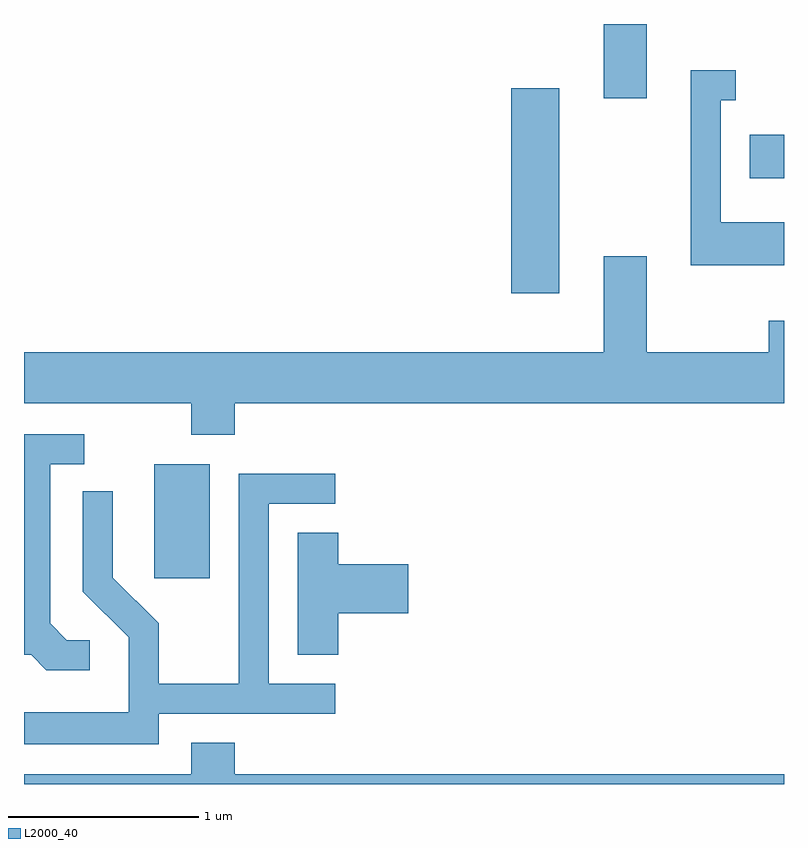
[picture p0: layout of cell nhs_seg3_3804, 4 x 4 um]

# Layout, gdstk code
import gdstk
lib = gdstk.Library(unit=1e-6, precision=1e-09)
def R(c, l, rs):  # rectangles x0, y0, x1, y1
    for r in rs: c.add(gdstk.rectangle(r[:2], r[2:], *l))
def P(c, l, *ps):  # polygons
    for p in ps: c.add(gdstk.Polygon(p, *l))
L2000_40 = (2000, 40)

nhs_seg3_3804 = lib.new_cell('nhs_seg3_3804')
R(nhs_seg3_3804, L2000_40, [(296.296,1244.976,296.589,1245.574), (298.176,1246.476,298.429,1247.554), (299.431,1247.081,299.611,1247.309), (298.661,1247.501,298.889,1247.892)])
P(nhs_seg3_3804, L2000_40, [(299.611,1246.849),(299.279,1246.849),(299.279,1247.491),(299.358,1247.491),(299.358,1247.649),(299.121,1247.649),(299.121,1246.621),(299.611,1246.621)],
  [(296.719,1245.896),(299.611,1245.896),(299.611,1246.329),(299.531,1246.329),(299.531,1246.164),(298.889,1246.164),(298.889,1246.669),(298.661,1246.669),(298.661,1246.164),(295.611,1246.164),(295.611,1245.896),(296.491,1245.896),(296.491,1245.731),(296.719,1245.731)],
  [(295.958,1244.649),(295.837,1244.649),(295.749,1244.737),(295.749,1245.576),(295.928,1245.576),(295.928,1245.734),(295.611,1245.734),(295.611,1244.571),(295.649,1244.571),(295.729,1244.491),(295.958,1244.491)],
  [(296.319,1244.261),(297.248,1244.261),(297.248,1244.419),(296.899,1244.419),(296.899,1245.366),(297.248,1245.366),(297.248,1245.524),(296.741,1245.524),(296.741,1244.419),(296.319,1244.419),(296.319,1244.737),(296.079,1244.977),(296.079,1245.433),(295.921,1245.433),(295.921,1244.904),(296.161,1244.664),(296.161,1244.269),(295.611,1244.269),(295.611,1244.101),(296.319,1244.101)],
  [(297.264,1244.791),(297.634,1244.791),(297.634,1245.049),(297.264,1245.049),(297.264,1245.214),(297.051,1245.214),(297.051,1244.571),(297.264,1244.571)],
  [(299.611,1243.944),(296.719,1243.944),(296.719,1244.109),(296.491,1244.109),(296.491,1243.944),(295.611,1243.944),(295.611,1243.892),(299.611,1243.892)])

lib.write_gds('nhs_seg3_3804.gds')
